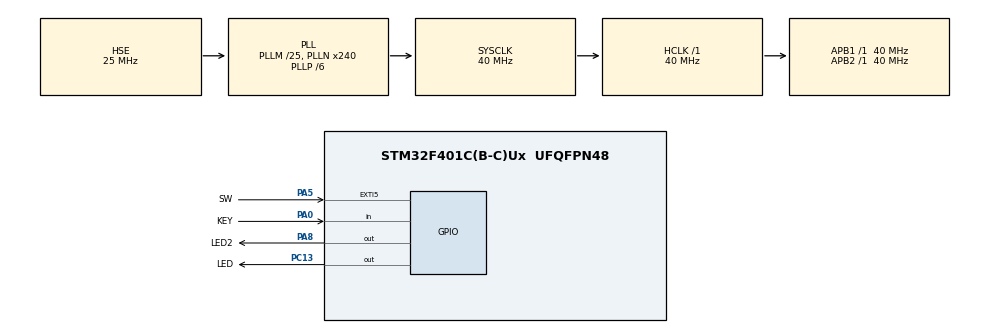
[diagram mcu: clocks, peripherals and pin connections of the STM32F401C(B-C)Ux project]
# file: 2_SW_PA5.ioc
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Mcu.Family=STM32F4
Mcu.Name=STM32F401C(B-C)Ux
Mcu.Package=UFQFPN48
NVIC.EXTI9_5_IRQn=true\:0\:0\:false\:false\:true\:true\:true
NVIC.PriorityGroup=NVIC_PRIORITYGROUP_4
PA0-WKUP.GPIO_Label=KEY
PA0-WKUP.GPIO_PuPd=GPIO_PULLUP
PA0-WKUP.Signal=GPIO_Input
PA13.Mode=Serial_Wire
PA13.Signal=SYS_JTMS-SWDIO
PA14.Mode=Serial_Wire
PA14.Signal=SYS_JTCK-SWCLK
PA5.GPIO_Label=SW
PA5.GPIO_ModeDefaultEXTI=GPIO_MODE_IT_FALLING
PA5.GPIO_PuPd=GPIO_PULLUP
PA5.Signal=GPXTI5
PA8.GPIO_Label=LED2
PA8.Signal=GPIO_Output
PC13-ANTI_TAMP.GPIO_Label=LED
PC13-ANTI_TAMP.PinState=GPIO_PIN_SET
PC13-ANTI_TAMP.Signal=GPIO_Output
PH0\ -\ OSC_IN.Mode=HSE-External-Oscillator
PH0\ -\ OSC_IN.Signal=RCC_OSC_IN
PH1\ -\ OSC_OUT.Mode=HSE-External-Oscillator
PH1\ -\ OSC_OUT.Signal=RCC_OSC_OUT
ProjectManager.HeapSize=0x200
ProjectManager.StackSize=0x400
ProjectManager.TargetToolchain=STM32CubeIDE
RCC.48MHZClocksFreq_Value=60000000
RCC.AHBFreq_Value=40000000
RCC.APB1Freq_Value=40000000
RCC.APB1TimFreq_Value=40000000
RCC.APB2Freq_Value=40000000
RCC.APB2TimFreq_Value=40000000
RCC.CortexFreq_Value=40000000
RCC.HCLKFreq_Value=40000000
RCC.HSE_VALUE=25000000
RCC.HSI_VALUE=16000000
RCC.LSE_VALUE=32768
RCC.PLLM=25
RCC.PLLN=240
RCC.PLLP=RCC_PLLP_DIV6
RCC.PLLSourceVirtual=RCC_PLLSOURCE_HSE
RCC.SYSCLKFreq_VALUE=40000000
RCC.SYSCLKSource=RCC_SYSCLKSOURCE_PLLCLK
RCC.VCOOutputFreq_Value=240000000
board=custom

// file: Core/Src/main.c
/* USER CODE BEGIN Header */
/**
  ******************************************************************************
  * @file           : main.c
  * @brief          : Main program body
  ******************************************************************************
  * @attention
  *
  * Copyright (c) 2022 STMicroelectronics.
  * All rights reserved.
  *
  * This software is licensed under terms that can be found in the LICENSE file
  * in the root directory of this software component.
  * If no LICENSE file comes with this software, it is provided AS-IS.
  *
  ******************************************************************************
  */
/* USER CODE END Header */
#include "main.h"
#include "gpio.h"

/* USER CODE BEGIN PD */
#define FALSE 0
#define TRUE 1
/* USER CODE END PD */

/* USER CODE BEGIN PV */
uint8_t KEY = 0;
uint8_t oldKey = 0;
uint8_t flag = FALSE;
/* USER CODE END PV */

void SystemClock_Config(void);

/* USER CODE BEGIN 0 */
void HAL_GPIO_EXTI_Callback(uint16_t GPIO_Pin)
{
	if (GPIO_Pin == SW_Pin) flag = TRUE;
}
/* USER CODE END 0 */

int main(void)
{

  /* MCU Configuration--------------------------------------------------------*/

  /* Reset of all peripherals, Initializes the Flash interface and the Systick. */
  HAL_Init();

  /* Configure the system clock */
  SystemClock_Config();

  /* Initialize all configured peripherals */
  MX_GPIO_Init();

  /* Infinite loop */
  while (1)
  {

    /* USER CODE BEGIN 3 */
	  KEY = !HAL_GPIO_ReadPin(KEY_GPIO_Port, KEY_Pin);

	  if ((KEY != oldKey) && KEY) {
		  __asm volatile("NOP");
		  HAL_GPIO_TogglePin(LED_GPIO_Port, LED_Pin);
	  }

	  if (flag) {
		  for (int i = 0; i < 3; i++) {
			  HAL_GPIO_WritePin(LED2_GPIO_Port, LED2_Pin, GPIO_PIN_SET);
			  HAL_Delay(100);
			  HAL_GPIO_WritePin(LED2_GPIO_Port, LED2_Pin, GPIO_PIN_RESET);
			  HAL_Delay(100);
		  }

		  flag = FALSE;
	  }

	  oldKey = KEY;
	  HAL_Delay(10);
  }
  /* USER CODE END 3 */
}

void SystemClock_Config(void)
{
  RCC_OscInitTypeDef RCC_OscInitStruct = {0};
  RCC_ClkInitTypeDef RCC_ClkInitStruct = {0};

  /** Configure the main internal regulator output voltage
  */
  __HAL_RCC_PWR_CLK_ENABLE();
  __HAL_PWR_VOLTAGESCALING_CONFIG(PWR_REGULATOR_VOLTAGE_SCALE2);
  /** Initializes the RCC Oscillators according to the specified parameters
  * in the RCC_OscInitTypeDef structure.
  */
  RCC_OscInitStruct.OscillatorType = RCC_OSCILLATORTYPE_HSE;
  RCC_OscInitStruct.HSEState = RCC_HSE_ON;
  RCC_OscInitStruct.PLL.PLLState = RCC_PLL_ON;
  RCC_OscInitStruct.PLL.PLLSource = RCC_PLLSOURCE_HSE;
  RCC_OscInitStruct.PLL.PLLM = 25;
  RCC_OscInitStruct.PLL.PLLN = 240;
  RCC_OscInitStruct.PLL.PLLP = RCC_PLLP_DIV6;
  RCC_OscInitStruct.PLL.PLLQ = 4;
  if (HAL_RCC_OscConfig(&RCC_OscInitStruct) != HAL_OK)
  {
    Error_Handler();
  }
  /** Initializes the CPU, AHB and APB buses clocks
  */
  RCC_ClkInitStruct.ClockType = RCC_CLOCKTYPE_HCLK|RCC_CLOCKTYPE_SYSCLK
                              |RCC_CLOCKTYPE_PCLK1|RCC_CLOCKTYPE_PCLK2;
  RCC_ClkInitStruct.SYSCLKSource = RCC_SYSCLKSOURCE_PLLCLK;
  RCC_ClkInitStruct.AHBCLKDivider = RCC_SYSCLK_DIV1;
  RCC_ClkInitStruct.APB1CLKDivider = RCC_HCLK_DIV1;
  RCC_ClkInitStruct.APB2CLKDivider = RCC_HCLK_DIV1;

  if (HAL_RCC_ClockConfig(&RCC_ClkInitStruct, FLASH_LATENCY_1) != HAL_OK)
  {
    Error_Handler();
  }
}

void Error_Handler(void)
{
  __disable_irq();
  while (1)
  {
  }
}
